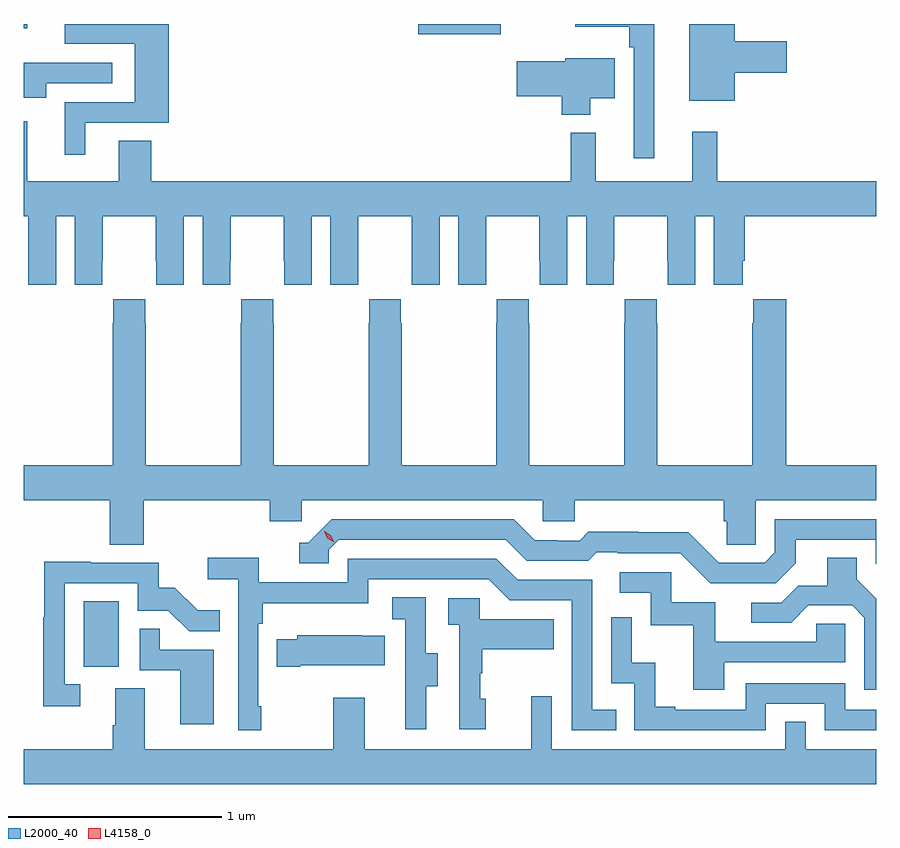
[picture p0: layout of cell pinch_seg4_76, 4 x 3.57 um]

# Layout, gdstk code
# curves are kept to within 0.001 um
import gdstk
lib = gdstk.Library(unit=1e-6, precision=1e-09)
def R(c, l, rs):  # rectangles x0, y0, x1, y1
    for r in rs: c.add(gdstk.rectangle(r[:2], r[2:], *l))
def P(c, l, *ps):  # polygons
    for p in ps: c.add(gdstk.Polygon(p, *l))
L2000_40 = (2000, 40)
L4158_0 = (4158, 0)

pinch_seg4_76 = lib.new_cell('pinch_seg4_76')
R(pinch_seg4_76, L2000_40, [(1070.636,812.022,1070.8,812.329), (1072.206,814.991,1072.594,815.039), (1070.355,815.019,1070.371,815.039)])
P(pinch_seg4_76, L2000_40, [(1073.692,814.811),(1073.935,814.811),(1073.935,814.958),(1073.692,814.958),(1073.692,815.039),(1073.477,815.039),(1073.477,814.679),(1073.692,814.679)],
  [(1070.644,814.575),(1071.035,814.575),(1071.035,815.039),(1070.546,815.039),(1070.546,814.946),(1070.876,814.946),(1070.876,814.671),(1070.546,814.671),(1070.546,814.425),(1070.644,814.425)],
  [(1073.314,815.039),(1072.943,815.039),(1072.943,815.027),(1073.197,815.027),(1073.197,814.931),(1073.217,814.931),(1073.217,814.41),(1073.314,814.41)],
  [(1073.014,814.691),(1073.128,814.691),(1073.128,814.879),(1072.896,814.879),(1072.896,814.864),(1072.668,814.864),(1072.668,814.699),(1072.88,814.699),(1072.88,814.613),(1073.014,814.613)],
  [(1070.461,814.761),(1070.77,814.761),(1070.77,814.857),(1070.457,814.857),(1070.457,814.858),(1070.355,814.858),(1070.355,814.694),(1070.461,814.694)],
  [(1073.609,814.534),(1073.492,814.534),(1073.492,814.3),(1073.039,814.3),(1073.039,814.528),(1072.921,814.528),(1072.921,814.3),(1070.954,814.3),(1070.954,814.49),(1070.801,814.49),(1070.801,814.3),(1070.371,814.3),(1070.371,814.582),(1070.355,814.582),(1070.355,814.136),(1070.375,814.136),(1070.375,813.928),(1070.376,813.928),(1070.376,813.816),(1070.506,813.816),(1070.506,814.136),(1070.594,814.136),(1070.594,813.816),(1070.724,813.816),(1070.724,813.928),(1070.725,813.928),(1070.725,814.136),(1070.975,814.136),(1070.975,813.928),(1070.976,813.928),(1070.976,813.816),(1071.106,813.816),(1071.106,814.136),(1071.194,814.136),(1071.194,813.816),(1071.324,813.816),(1071.324,813.928),(1071.325,813.928),(1071.325,814.136),(1071.575,814.136),(1071.575,813.928),(1071.576,813.928),(1071.576,813.816),(1071.706,813.816),(1071.706,814.136),(1071.794,814.136),(1071.794,813.816),(1071.924,813.816),(1071.924,813.928),(1071.925,813.928),(1071.925,814.136),(1072.175,814.136),(1072.175,813.928),(1072.176,813.928),(1072.176,813.816),(1072.306,813.816),(1072.306,814.136),(1072.394,814.136),(1072.394,813.816),(1072.524,813.816),(1072.524,813.928),(1072.525,813.928),(1072.525,814.136),(1072.775,814.136),(1072.775,813.928),(1072.776,813.928),(1072.776,813.816),(1072.906,813.816),(1072.906,814.136),(1072.994,814.136),(1072.994,813.816),(1073.124,813.816),(1073.124,813.928),(1073.125,813.928),(1073.125,814.136),(1073.375,814.136),(1073.375,813.928),(1073.376,813.928),(1073.376,813.816),(1073.506,813.816),(1073.506,814.136),(1073.594,814.136),(1073.594,813.816),(1073.728,813.816),(1073.728,813.928),(1073.738,813.928),(1073.738,814.136),(1074.355,814.136),(1074.355,814.3),(1073.609,814.3)],
  [(1073.328,813.635),(1073.325,813.635),(1073.325,813.748),(1073.175,813.748),(1073.175,813.635),(1073.173,813.635),(1073.173,812.968),(1072.728,812.968),(1072.728,813.635),(1072.725,813.635),(1072.725,813.748),(1072.575,813.748),(1072.575,813.635),(1072.573,813.635),(1072.573,812.968),(1072.128,812.968),(1072.128,813.635),(1072.125,813.635),(1072.125,813.748),(1071.975,813.748),(1071.975,813.635),(1071.973,813.635),(1071.973,812.968),(1071.528,812.968),(1071.528,813.635),(1071.525,813.635),(1071.525,813.748),(1071.375,813.748),(1071.375,813.635),(1071.373,813.635),(1071.373,812.968),(1070.928,812.968),(1070.928,813.635),(1070.925,813.635),(1070.925,813.748),(1070.775,813.748),(1070.775,813.635),(1070.773,813.635),(1070.773,812.968),(1070.355,812.968),(1070.355,812.804),(1070.758,812.804),(1070.758,812.596),(1070.918,812.596),(1070.918,812.804),(1071.509,812.804),(1071.509,812.706),(1071.66,812.706),(1071.66,812.804),(1072.791,812.804),(1072.791,812.706),(1072.941,812.706),(1072.941,812.804),(1073.639,812.804),(1073.639,812.706),(1073.653,812.706),(1073.653,812.596),(1073.79,812.596),(1073.79,812.804),(1074.355,812.804),(1074.355,812.968),(1073.933,812.968),(1073.933,813.748),(1073.779,813.748),(1073.779,813.635),(1073.773,813.635),(1073.773,812.968),(1073.328,812.968)],
  [(1073.977,812.509),(1073.977,812.619),(1074.354,812.619),(1074.355,812.504),(1074.355,812.715),(1073.88,812.715),(1073.88,812.559),(1073.832,812.511),(1073.616,812.511),(1073.474,812.653),(1073.238,812.653),(1073.238,812.656),(1073.005,812.656),(1072.963,812.613),(1072.86,812.613),(1072.86,812.616),(1072.753,812.616),(1072.654,812.715),(1071.801,812.715),(1071.69,812.604),(1071.647,812.604),(1071.647,812.508),(1071.786,812.508),(1071.786,812.571),(1071.834,812.619),(1072.617,812.619),(1072.716,812.52),(1073.005,812.52),(1073.044,812.559),(1073.143,812.559),(1073.143,812.556),(1073.436,812.556),(1073.577,812.415),(1073.883,812.415)],
  [(1074.355,812.342),(1074.265,812.432),(1074.265,812.534),(1074.125,812.534),(1074.125,812.402),(1073.99,812.402),(1073.91,812.322),(1073.769,812.322),(1073.769,812.229),(1073.956,812.229),(1074.037,812.31),(1074.243,812.31),(1074.3,812.253),(1074.3,811.914),(1074.355,811.914)],
  [(1071.469,811.837),(1071.456,811.837),(1071.456,812.225),(1071.476,812.225),(1071.476,812.321),(1071.972,812.321),(1071.972,812.433),(1072.536,812.433),(1072.635,812.334),(1072.926,812.334),(1072.926,811.725),(1073.135,811.725),(1073.135,811.821),(1073.022,811.821),(1073.022,812.43),(1072.672,812.43),(1072.573,812.529),(1071.876,812.529),(1071.876,812.418),(1071.458,812.418),(1071.458,812.534),(1071.219,812.534),(1071.219,812.432),(1071.36,812.432),(1071.36,811.725),(1071.469,811.725)],
  [(1070.62,811.941),(1070.547,811.941),(1070.547,812.415),(1070.889,812.415),(1070.889,812.286),(1071.033,812.286),(1071.131,812.188),(1071.275,812.188),(1071.275,812.287),(1071.171,812.287),(1071.064,812.394),(1070.988,812.394),(1070.988,812.511),(1070.669,812.511),(1070.669,812.516),(1070.451,812.516),(1070.451,812.255),(1070.446,812.255),(1070.446,811.836),(1070.62,811.836)],
  [(1073.641,812.043),(1074.21,812.043),(1074.21,812.223),(1074.073,812.223),(1074.073,812.139),(1073.599,812.139),(1073.599,812.325),(1073.394,812.325),(1073.394,812.466),(1073.151,812.466),(1073.151,812.37),(1073.298,812.37),(1073.298,812.217),(1073.497,812.217),(1073.497,811.914),(1073.641,811.914)],
  [(1072.243,811.93),(1072.297,811.93),(1072.297,812.085),(1072.242,812.085),(1072.242,812.348),(1072.083,812.348),(1072.083,812.245),(1072.146,812.245),(1072.146,811.941),(1072.145,811.941),(1072.145,811.728),(1072.243,811.728)],
  [(1072.522,811.872),(1072.497,811.872),(1072.497,811.991),(1072.507,811.991),(1072.507,812.105),(1072.841,812.105),(1072.841,812.245),(1072.494,812.245),(1072.494,812.343),(1072.347,812.343),(1072.347,812.219),(1072.398,812.219),(1072.398,811.728),(1072.522,811.728)],
  [(1073.838,811.848),(1074.114,811.848),(1074.114,811.725),(1074.355,811.725),(1074.355,811.821),(1074.21,811.821),(1074.21,811.944),(1073.742,811.944),(1073.742,811.821),(1073.413,811.821),(1073.413,811.834),(1073.318,811.834),(1073.318,812.042),(1073.208,812.042),(1073.208,812.254),(1073.112,812.254),(1073.112,811.944),(1073.22,811.944),(1073.22,811.725),(1073.838,811.725)],
  [(1071.247,812.103),(1070.993,812.103),(1070.993,812.201),(1070.898,812.201),(1070.898,812.007),(1071.089,812.007),(1071.089,811.752),(1071.247,811.752)],
  [(1071.652,812.03),(1072.049,812.03),(1072.049,812.167),(1071.941,812.167),(1071.941,812.17),(1071.639,812.17),(1071.639,812.152),(1071.541,812.152),(1071.541,812.023),(1071.652,812.023)],
  [(1074.355,811.636),(1074.024,811.636),(1074.024,811.763),(1073.928,811.763),(1073.928,811.636),(1072.833,811.636),(1072.833,811.885),(1072.736,811.885),(1072.736,811.636),(1071.955,811.636),(1071.955,811.876),(1071.808,811.876),(1071.808,811.636),(1070.923,811.636),(1070.923,811.922),(1070.783,811.922),(1070.783,811.748),(1070.771,811.748),(1070.771,811.636),(1070.355,811.636),(1070.355,811.472),(1074.355,811.472)])
P(pinch_seg4_76, L4158_0, [(1071.811,812.606),(1071.78,812.626),(1071.765,812.659),(1071.765,812.659),(1071.765,812.659),(1071.795,812.639),(1071.811,812.606),(1071.811,812.606)])

lib.write_gds('pinch_seg4_76.gds')
